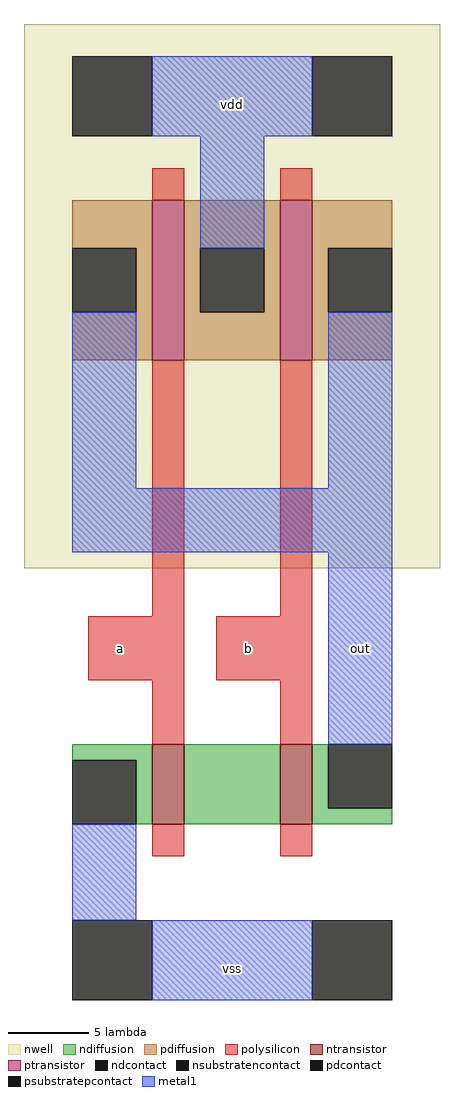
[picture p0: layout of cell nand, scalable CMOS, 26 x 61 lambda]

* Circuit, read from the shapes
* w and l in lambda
.subckt nand a b out vdd vss
M1 n1 a vss vss nfet w=5 l=2
M2 out b n1 vss nfet w=5 l=2
M3 vdd a out vdd pfet w=10 l=2
M4 out b vdd vdd pfet w=10 l=2
.ends

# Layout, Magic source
magic
tech scmos
<< nwell >>
rect -14 9 12 43
<< polysilicon >>
rect -6 32 -4 34
rect 2 32 4 34
rect -6 6 -4 22
rect 2 6 4 22
rect -10 2 -4 6
rect -2 2 4 6
rect -6 -2 -4 2
rect 2 -2 4 2
rect -6 -9 -4 -7
rect 2 -9 4 -7
<< ndiffusion >>
rect -11 -3 -6 -2
rect -7 -7 -6 -3
rect -4 -7 2 -2
rect 4 -6 5 -2
rect 4 -7 9 -6
<< pdiffusion >>
rect -11 29 -6 32
rect -7 25 -6 29
rect -11 22 -6 25
rect -4 29 2 32
rect -4 25 -3 29
rect 1 25 2 29
rect -4 22 2 25
rect 4 29 9 32
rect 4 25 5 29
rect 4 22 9 25
<< metal1 >>
rect -6 36 4 41
rect -3 29 1 36
rect -11 14 -7 25
rect 5 14 9 25
rect -11 10 9 14
rect 5 -2 9 10
rect -11 -13 -7 -7
rect -6 -18 4 -13
<< ntransistor >>
rect -6 -7 -4 -2
rect 2 -7 4 -2
<< ptransistor >>
rect -6 22 -4 32
rect 2 22 4 32
<< ndcontact >>
rect -11 -7 -7 -3
rect 5 -6 9 -2
<< pdcontact >>
rect -11 25 -7 29
rect -3 25 1 29
rect 5 25 9 29
<< psubstratepcontact >>
rect -11 -18 -6 -13
rect 4 -18 9 -13
<< nsubstratencontact >>
rect -11 36 -6 41
rect 4 36 9 41
<< labels >>
rlabel metal1 -1 38 -1 38 1 vdd
rlabel polysilicon -8 4 -8 4 7 a
rlabel polysilicon 0 4 0 4 7 b
rlabel metal1 7 4 7 4 3 out
rlabel metal1 -1 -16 -1 -16 5 vss
<< end >>
